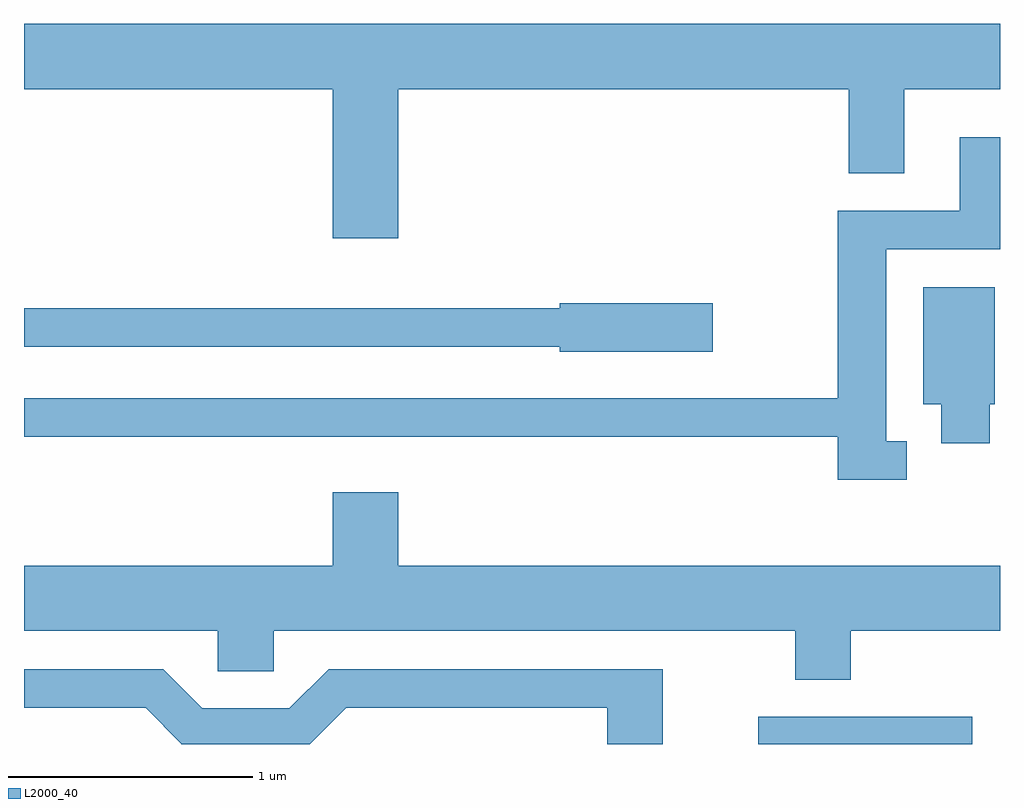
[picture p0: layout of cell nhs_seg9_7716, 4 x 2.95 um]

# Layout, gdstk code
import gdstk
lib = gdstk.Library(unit=1e-6, precision=1e-09)
def R(c, l, rs):  # rectangles x0, y0, x1, y1
    for r in rs: c.add(gdstk.rectangle(r[:2], r[2:], *l))
def P(c, l, *ps):  # polygons
    for p in ps: c.add(gdstk.Polygon(p, *l))
L2000_40 = (2000, 40)

nhs_seg9_7716 = lib.new_cell('nhs_seg9_7716')
R(nhs_seg9_7716, L2000_40, [(416.621,2022.432,417.498,2022.544)])
P(nhs_seg9_7716, L2000_40, [(415.144,2025.116),(416.991,2025.116),(416.991,2024.771),(417.219,2024.771),(417.219,2025.116),(417.611,2025.116),(417.611,2025.384),(413.611,2025.384),(413.611,2025.116),(414.876,2025.116),(414.876,2024.506),(415.144,2024.506)],
  [(417.228,2023.674),(417.144,2023.674),(417.144,2024.461),(417.611,2024.461),(417.611,2024.919),(417.446,2024.919),(417.446,2024.619),(416.946,2024.619),(416.946,2023.849),(413.611,2023.849),(413.611,2023.691),(416.946,2023.691),(416.946,2023.516),(417.228,2023.516)],
  [(417.569,2023.826),(417.589,2023.826),(417.589,2024.304),(417.296,2024.304),(417.296,2023.826),(417.371,2023.826),(417.371,2023.666),(417.569,2023.666)],
  [(416.434,2024.239),(415.806,2024.239),(415.806,2024.219),(413.611,2024.219),(413.611,2024.061),(415.806,2024.061),(415.806,2024.041),(416.434,2024.041)],
  [(416.999,2022.896),(417.611,2022.896),(417.611,2023.164),(415.144,2023.164),(415.144,2023.464),(414.876,2023.464),(414.876,2023.164),(413.611,2023.164),(413.611,2022.896),(414.406,2022.896),(414.406,2022.731),(414.634,2022.731),(414.634,2022.896),(416.771,2022.896),(416.771,2022.696),(416.999,2022.696)],
  [(414.932,2022.581),(416.001,2022.581),(416.001,2022.432),(416.229,2022.432),(416.229,2022.739),(414.859,2022.739),(414.699,2022.579),(414.342,2022.579),(414.182,2022.739),(413.611,2022.739),(413.611,2022.581),(414.109,2022.581),(414.256,2022.434),(414.256,2022.432),(414.783,2022.432)])

lib.write_gds('nhs_seg9_7716.gds')
